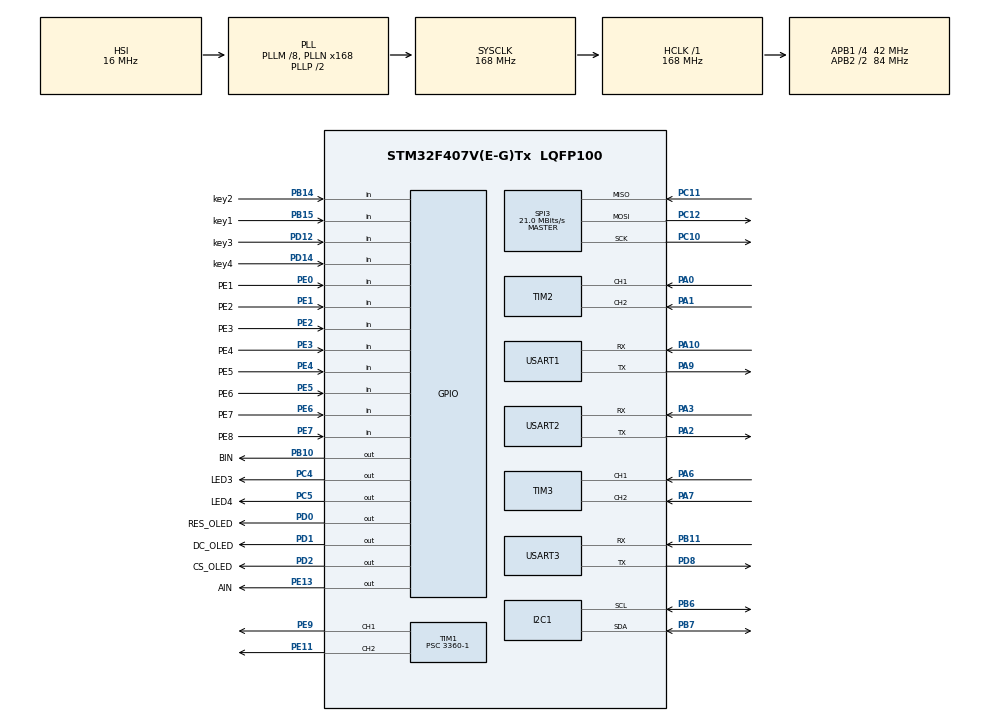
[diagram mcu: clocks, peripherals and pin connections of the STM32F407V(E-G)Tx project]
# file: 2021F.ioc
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Mcu.Family=STM32F4
Mcu.Name=STM32F407V(E-G)Tx
Mcu.Package=LQFP100
NVIC.PriorityGroup=NVIC_PRIORITYGROUP_4
NVIC.TIM4_IRQn=true\:4\:0\:true\:false\:true\:true\:true\:true
NVIC.USART2_IRQn=true\:0\:0\:false\:false\:true\:true\:true\:true
NVIC.USART3_IRQn=true\:0\:0\:true\:false\:true\:true\:true\:true
PA0-WKUP.Signal=S_TIM2_CH1_ETR
PA1.Signal=S_TIM2_CH2
PA10.Mode=Asynchronous
PA10.Signal=USART1_RX
PA13.Mode=Serial_Wire
PA13.Signal=SYS_JTMS-SWDIO
PA14.Mode=Serial_Wire
PA14.Signal=SYS_JTCK-SWCLK
PA2.Mode=Asynchronous
PA2.Signal=USART2_TX
PA3.Mode=Asynchronous
PA3.Signal=USART2_RX
PA6.Signal=S_TIM3_CH1
PA7.Signal=S_TIM3_CH2
PA9.Mode=Asynchronous
PA9.Signal=USART1_TX
PB10.GPIO_Label=BIN
PB10.Signal=GPIO_Output
PB11.Mode=Asynchronous
PB11.Signal=USART3_RX
PB14.GPIO_Label=key2
PB14.GPIO_PuPd=GPIO_PULLDOWN
PB14.Signal=GPIO_Input
PB15.GPIO_Label=key1
PB15.GPIO_PuPd=GPIO_PULLDOWN
PB15.Signal=GPIO_Input
PB6.Mode=I2C
PB6.Signal=I2C1_SCL
PB7.Mode=I2C
PB7.Signal=I2C1_SDA
PC10.Mode=Full_Duplex_Master
PC10.Signal=SPI3_SCK
PC11.Mode=Full_Duplex_Master
PC11.Signal=SPI3_MISO
PC12.Mode=Full_Duplex_Master
PC12.Signal=SPI3_MOSI
PC4.GPIO_Label=LED3
PC4.Signal=GPIO_Output
PC5.GPIO_Label=LED4
PC5.Signal=GPIO_Output
PD0.GPIO_Label=RES_OLED
PD0.Signal=GPIO_Output
PD1.GPIO_Label=DC_OLED
PD1.Signal=GPIO_Output
PD12.GPIO_Label=key3
PD12.GPIO_PuPd=GPIO_PULLDOWN
PD12.Signal=GPIO_Input
PD14.GPIO_Label=key4
PD14.GPIO_PuPd=GPIO_PULLDOWN
PD14.Signal=GPIO_Input
PD2.GPIO_Label=CS_OLED
PD2.Signal=GPIO_Output
PD8.Mode=Asynchronous
PD8.Signal=USART3_TX
PE0.GPIO_Label=PE1
PE0.Signal=GPIO_Input
PE1.GPIO_Label=PE2
PE1.Signal=GPIO_Input
PE11.Signal=S_TIM1_CH2
PE13.GPIO_Label=AIN
PE13.Signal=GPIO_Output
PE2.GPIO_Label=PE3
PE2.Signal=GPIO_Input
PE3.GPIO_Label=PE4
PE3.Signal=GPIO_Input
PE4.GPIO_Label=PE5
PE4.Signal=GPIO_Input
PE5.GPIO_Label=PE6
PE5.Signal=GPIO_Input
PE6.GPIO_Label=PE7
PE6.Signal=GPIO_Input
PE7.GPIO_Label=PE8
PE7.Signal=GPIO_Input
PE9.Signal=S_TIM1_CH1
PH0-OSC_IN.Mode=HSE-External-Oscillator
PH0-OSC_IN.Signal=RCC_OSC_IN
PH1-OSC_OUT.Mode=HSE-External-Oscillator
PH1-OSC_OUT.Signal=RCC_OSC_OUT
ProjectManager.HeapSize=0x200
ProjectManager.StackSize=0x400
ProjectManager.TargetToolchain=MDK-ARM V5.32
RCC.48MHZClocksFreq_Value=84000000
RCC.AHBFreq_Value=168000000
RCC.APB1CLKDivider=RCC_HCLK_DIV4
RCC.APB1Freq_Value=42000000
RCC.APB1TimFreq_Value=84000000
RCC.APB2CLKDivider=RCC_HCLK_DIV2
RCC.APB2Freq_Value=84000000
RCC.APB2TimFreq_Value=168000000
RCC.CortexFreq_Value=168000000
RCC.HCLKFreq_Value=168000000
RCC.HSE_VALUE=25000000
RCC.HSI_VALUE=16000000
RCC.LSE_VALUE=32768
RCC.PLLM=8
RCC.PLLN=168
RCC.SYSCLKFreq_VALUE=168000000
RCC.SYSCLKSource=RCC_SYSCLKSOURCE_PLLCLK
RCC.VCOOutputFreq_Value=336000000
SH.S_TIM1_CH1.0=TIM1_CH1,PWM Generation1 CH1
SH.S_TIM1_CH2.0=TIM1_CH2,PWM Generation2 CH2
SH.S_TIM2_CH1_ETR.0=TIM2_CH1,Encoder_Interface
SH.S_TIM2_CH2.0=TIM2_CH2,Encoder_Interface
SH.S_TIM3_CH1.0=TIM3_CH1,Encoder_Interface
SH.S_TIM3_CH2.0=TIM3_CH2,Encoder_Interface
SPI3.CalculateBaudRate=21.0 MBits/s
SPI3.Direction=SPI_DIRECTION_2LINES
SPI3.Mode=SPI_MODE_MASTER
SPI3.VirtualType=VM_MASTER
TIM1.Channel-PWM\ Generation1\ CH1=TIM_CHANNEL_1
TIM1.Channel-PWM\ Generation2\ CH2=TIM_CHANNEL_2
TIM1.Period=100 - 1
TIM1.Prescaler=3360-1
TIM4.Period=100-1
TIM4.Prescaler=3360-1
USART1.VirtualMode=VM_ASYNC
USART2.VirtualMode=VM_ASYNC
USART3.VirtualMode=VM_ASYNC
VP_TIM1_VS_ClockSourceINT.Mode=Internal
VP_TIM4_VS_ClockSourceINT.Mode=Internal
board=custom

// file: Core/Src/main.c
/* USER CODE BEGIN Header */
/**
  ******************************************************************************
  * @file           : main.c
  * @brief          : Main program body
  ******************************************************************************
  * @attention
  *
  * Copyright (c) 2026 STMicroelectronics.
  * All rights reserved.
  *
  * This software is licensed under terms that can be found in the LICENSE file
  * in the root directory of this software component.
  * If no LICENSE file comes with this software, it is provided AS-IS.
  *
  ******************************************************************************
  */
/* USER CODE END Header */
#include "main.h"
#include "i2c.h"
#include "spi.h"
#include "tim.h"
#include "usart.h"
#include "gpio.h"

/* USER CODE BEGIN Includes */
#include <stdio.h>
#include <string.h>
#include "PID_Node.h"
#include "oled.h"
#include "mpu6050.h"
#include "MadgwickAHRS.h"
#include "multikey.h"
#include <stdbool.h>
#include "Motor_AT4950.h"
#include "grayscale.h"
#include "Log.h"
#include "control.h"
//#include "f_sm.h"
#include "Protothreads.h"
#include "key_control.h"
#include "tasks.h"
#include "app_protocol.h"
/* USER CODE END Includes */

/* USER CODE BEGIN PTD */
MulitKey_t key1;
MulitKey_t key2;
MotorAT4950 motor1;
MotorAT4950 motor2;
/* USER CODE END PTD */

/* USER CODE BEGIN PV */
MPU6050_Data_t* mpu = NULL;   // 全局指针，用于整个文件访问
volatile uint8_t uart2_rx_byte; // USART2 协议层中断接收（摄像头）
volatile uint8_t uart3_rx_byte; // USART3 协议层中断接收（蓝牙）
static uint32_t rx_count = 0;
/* USER CODE END PV */

void SystemClock_Config(void);

/* USER CODE BEGIN 0 */
// 电机驱动底层函数实现（放在 main 函数外）
void SetMotor1PWM(uint16_t ccr) {
    __HAL_TIM_SetCompare(&htim1, TIM_CHANNEL_1, ccr);
}
void SetMotor2PWM(uint16_t ccr) {
    __HAL_TIM_SetCompare(&htim1, TIM_CHANNEL_2, ccr);
}
void SetMotor1IN1(uint8_t level) {
    HAL_GPIO_WritePin(AIN_GPIO_Port, AIN_Pin, (GPIO_PinState)level);
}
void SetMotor2IN1(uint8_t level) {
    HAL_GPIO_WritePin(BIN_GPIO_Port, BIN_Pin, (GPIO_PinState)level);
}
/* USER CODE END 0 */

int main(void)
{

  /* MCU Configuration--------------------------------------------------------*/

  /* Reset of all peripherals, Initializes the Flash interface and the Systick. */
  HAL_Init();

  /* Configure the system clock */
  SystemClock_Config();

  /* Initialize all configured peripherals */
  MX_GPIO_Init();
  MX_I2C1_Init();
  MX_SPI3_Init();
  MX_TIM1_Init();
  MX_TIM2_Init();
  MX_TIM3_Init();
  MX_TIM4_Init();
  MX_USART1_UART_Init();
  MX_USART3_UART_Init();
  MX_USART2_UART_Init();
  /* USER CODE BEGIN 2 */
  OLED_Init();
  OLED_Clear();
  OLED_ShowString(0, 0, "Calibrating...", 16, 1);
  OLED_ShowString(0, 16, "Keep Still!", 16, 1);

  MotorInit_AT46950(&motor1, SetMotor1PWM, SetMotor1IN1, 100); // ARR = 999
  MotorInit_AT46950(&motor2, SetMotor2PWM, SetMotor2IN1, 100);
  SetDefaultDirection(&motor1, High_Level);
  SetDefaultDirection(&motor2, High_Level);
	// 启动 PWM 输出
  HAL_TIM_PWM_Start(&htim1, TIM_CHANNEL_1);
  HAL_TIM_PWM_Start(&htim1, TIM_CHANNEL_2);

	// 启动编码器模式
  HAL_TIM_Encoder_Start(&htim2, TIM_CHANNEL_ALL);
  HAL_TIM_Encoder_Start(&htim3, TIM_CHANNEL_ALL);

	// 启动 TIM4 中断（周期已在 MX_TIM4_Init 中配置为 10ms）
  Control_Init();
  MPU6050_Calibrate(200);
//ctrl_mode = CTRL_MODE_TRACKING;    // 设置灰度循迹模式
  KeyControl_Init();
  Tasks_Init();

//  FSM_App_Init();   //状态机初始化
//  SM_StartTask(TASK_4);
  mpu = MPU6050_GetHandle();   // 获取句柄
  App_Protocol_Init();   // 初始化协议（摄像头和蓝牙共用同一协议实例）
  HAL_UART_Receive_IT(&huart2, &uart2_rx_byte, 1);  // 启动 USART2（摄像头）中断接收
  HAL_UART_Receive_IT(&huart3, &uart3_rx_byte, 1);  // 启动 USART3（蓝牙）中断接收
  HAL_TIM_Base_Start_IT(&htim4);
  /* USER CODE END 2 */

  /* Infinite loop */
  /* USER CODE BEGIN WHILE */
  while (1)
  {
	  KeyControl_Scan();   // 扫描按键

	  App_Protocol_Run();          // 驱动协议状态机，处理蓝牙接收
      Task_FSM(&fsm_pt);           // 运行状态机任务
	  // 获取显示模式
      uint8_t mode = KeyControl_GetDisplayMode();
	  task1(&task1_pt);
//	  task2(&task2_pt);
	  SerialTask(&SerialTask_pt);
	  OLED_Task(&oled_pt);
    // LOG_INFO("rx_count: %lu,current char: %c", rx_count, uart1_rx_byte); // 定期打印接收计数器，验证中断是否正常工作
    // HAL_Delay(100); // 避免打印过快导致串口输出混乱
    /* USER CODE END WHILE */

  }
}

void SystemClock_Config(void)
{
  RCC_OscInitTypeDef RCC_OscInitStruct = {0};
  RCC_ClkInitTypeDef RCC_ClkInitStruct = {0};

  /** Configure the main internal regulator output voltage
  */
  __HAL_RCC_PWR_CLK_ENABLE();
  __HAL_PWR_VOLTAGESCALING_CONFIG(PWR_REGULATOR_VOLTAGE_SCALE1);

  /** Initializes the RCC Oscillators according to the specified parameters
  * in the RCC_OscInitTypeDef structure.
  */
  RCC_OscInitStruct.OscillatorType = RCC_OSCILLATORTYPE_HSI;
  RCC_OscInitStruct.HSIState = RCC_HSI_ON;
  RCC_OscInitStruct.HSICalibrationValue = RCC_HSICALIBRATION_DEFAULT;
  RCC_OscInitStruct.PLL.PLLState = RCC_PLL_ON;
  RCC_OscInitStruct.PLL.PLLSource = RCC_PLLSOURCE_HSI;
  RCC_OscInitStruct.PLL.PLLM = 8;
  RCC_OscInitStruct.PLL.PLLN = 168;
  RCC_OscInitStruct.PLL.PLLP = RCC_PLLP_DIV2;
  RCC_OscInitStruct.PLL.PLLQ = 4;
  if (HAL_RCC_OscConfig(&RCC_OscInitStruct) != HAL_OK)
  {
    Error_Handler();
  }

  /** Initializes the CPU, AHB and APB buses clocks
  */
  RCC_ClkInitStruct.ClockType = RCC_CLOCKTYPE_HCLK|RCC_CLOCKTYPE_SYSCLK
                              |RCC_CLOCKTYPE_PCLK1|RCC_CLOCKTYPE_PCLK2;
  RCC_ClkInitStruct.SYSCLKSource = RCC_SYSCLKSOURCE_PLLCLK;
  RCC_ClkInitStruct.AHBCLKDivider = RCC_SYSCLK_DIV1;
  RCC_ClkInitStruct.APB1CLKDivider = RCC_HCLK_DIV4;
  RCC_ClkInitStruct.APB2CLKDivider = RCC_HCLK_DIV2;

  if (HAL_RCC_ClockConfig(&RCC_ClkInitStruct, FLASH_LATENCY_5) != HAL_OK)
  {
    Error_Handler();
  }
}

/* USER CODE BEGIN 4 */
void HAL_TIM_PeriodElapsedCallback(TIM_HandleTypeDef *htim)
{
    if (htim->Instance == TIM4)
    {
		static uint8_t cnt = 0;
		cnt++;
        static uint32_t last_tick = 0;
        float dt = 4;
//        uint32_t now = HAL_GetTick();
//		if (now - last_tick > 1000)
//        {
//          printf("1000 ms elapsed\n");
//        }
//        float dt = (now - last_tick) / 1000.0f;
//        last_tick = now;
        // 读取 MPU6050 原始数据（已封装在 MPU6050_Update 中）
        MPU6050_Update();   // 该函数会读原始值、校准、转换并更新欧拉角

        // 读取灰度传感器并计算误差
        gray_byte = GPIOE->IDR & 0xFF;

        gray_error = CalculateGrayError_Advanced(gray_byte);
        // 读取编码器差值（注意：编码器计数器可能为负数，需根据实际接线调整符号）
        static int32_t last_A = 0,last_B = 0;
//		printf("diffA:%u,diffB:%u\n",diff_A,diff_B);
		if (cnt % 5 == 0)
		{
			int32_t current_A = (int16_t)__HAL_TIM_GET_COUNTER(&htim2);
			int32_t current_B = (int32_t)(int16_t)__HAL_TIM_GET_COUNTER(&htim3);
		    int32_t diff_A = current_A - last_A;
		    int32_t diff_B = current_B - last_B;
		    last_A = current_A;
		    last_B = current_B;
			Control_UpdateSpeedFeedback(diff_A, diff_B, 20);
			// Control_UpdateSpeedFeedback(current_A, current_B, 20);
		}

        // 执行控制
        Control_Update(dt);
//		printf("target_A=%.2f,target_B=%.2f",target_A,target_B);
//		printf("diff_A=%ld, speed=%.3f\n", diff_A, Actual_Speed_A);
        // 定期清零编码器（防止溢出）
        if (cnt >= 20) {
            __HAL_TIM_SetCounter(&htim2, 0);
            __HAL_TIM_SetCounter(&htim3, 0);
            last_A = 0;
            last_B = 0;
            cnt = 0;
        }
    }
}

void HAL_UART_RxCpltCallback(UART_HandleTypeDef *huart)
{
    if (huart->Instance == USART2)   // 摄像头串口，走协议层
    {
        rx_count++;
        Uart_Protocol_ProcessReceivedData8bit(App_GetProtocolInstance(), uart2_rx_byte);
        HAL_UART_Receive_IT(&huart2, &uart2_rx_byte, 1);
    }
    else if (huart->Instance == USART3)   // 蓝牙串口，共用同一协议层
    {
        Uart_Protocol_ProcessReceivedData8bit(App_GetProtocolInstance(), uart3_rx_byte);
        HAL_UART_Receive_IT(&huart3, &uart3_rx_byte, 1);
    }
}
/* USER CODE END 4 */

void Error_Handler(void)
{
  __disable_irq();
  while (1)
  {
  }
}
